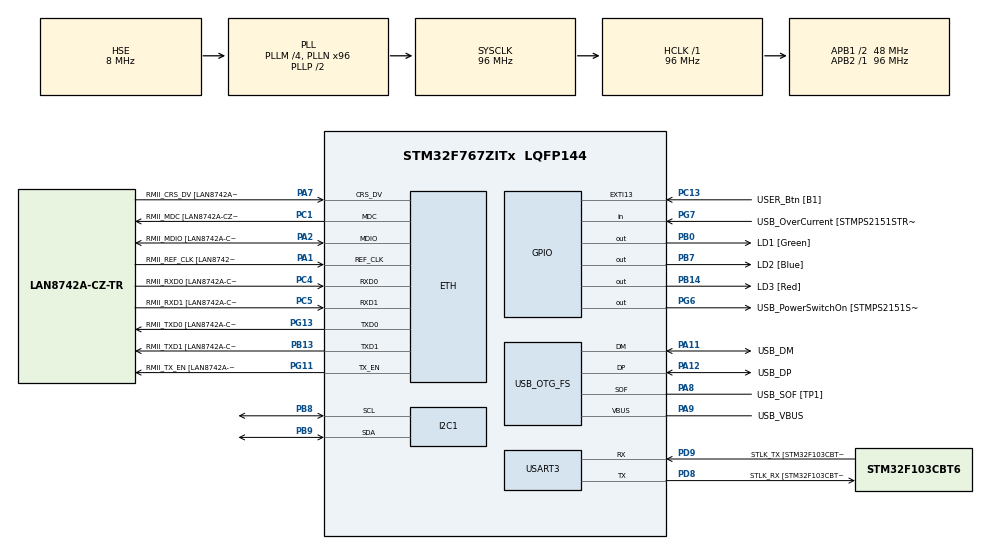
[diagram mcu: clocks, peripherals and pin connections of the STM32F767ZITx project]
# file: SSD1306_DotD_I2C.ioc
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ETH.MediaInterface=HAL_ETH_RMII_MODE
ETH.PHY_Name=LAN8742A_PHY_ADDRESS
ETH.PHY_Value=0
ETH.PhyAddress=0
I2C1.Timing=0x20303E5D
Mcu.Family=STM32F7
Mcu.Name=STM32F767ZITx
Mcu.Package=LQFP144
NVIC.PriorityGroup=NVIC_PRIORITYGROUP_4
PA1.GPIO_Label=RMII_REF_CLK [LAN8742A-CZ-TR_REFCLK0]
PA1.Mode=RMII
PA1.Signal=ETH_REF_CLK
PA10.GPIO_Label=USB_ID
PA10.Signal=USB_OTG_FS_ID
PA11.GPIO_Label=USB_DM
PA11.Mode=Device_Only
PA11.Signal=USB_OTG_FS_DM
PA12.GPIO_Label=USB_DP
PA12.Mode=Device_Only
PA12.Signal=USB_OTG_FS_DP
PA13.GPIO_Label=TMS
PA13.Mode=Serial_Wire
PA13.Signal=SYS_JTMS-SWDIO
PA14.GPIO_Label=TCK
PA14.Mode=Serial_Wire
PA14.Signal=SYS_JTCK-SWCLK
PA2.GPIO_Label=RMII_MDIO [LAN8742A-CZ-TR_MDIO]
PA2.Mode=RMII
PA2.Signal=ETH_MDIO
PA7.GPIO_Label=RMII_CRS_DV [LAN8742A-CZ-TR_CRS_DV]
PA7.Mode=RMII
PA7.Signal=ETH_CRS_DV
PA8.GPIO_Label=USB_SOF [TP1]
PA8.Mode=Activate_SOF_FS
PA8.Signal=USB_OTG_FS_SOF
PA9.GPIO_Label=USB_VBUS
PA9.Mode=Activate_VBUS
PA9.Signal=USB_OTG_FS_VBUS
PB0.GPIO_Label=LD1 [Green]
PB0.Signal=GPIO_Output
PB13.GPIO_Label=RMII_TXD1 [LAN8742A-CZ-TR_TXD1]
PB13.Mode=RMII
PB13.Signal=ETH_TXD1
PB14.GPIO_Label=LD3 [Red]
PB14.Signal=GPIO_Output
PB3.GPIO_Label=SWO
PB3.Signal=SYS_JTDO-SWO
PB7.GPIO_Label=LD2 [Blue]
PB7.Signal=GPIO_Output
PB8.GPIO_Pu=GPIO_PULLUP
PB8.Mode=I2C
PB8.Signal=I2C1_SCL
PB9.GPIO_Pu=GPIO_PULLUP
PB9.Mode=I2C
PB9.Signal=I2C1_SDA
PC1.GPIO_Label=RMII_MDC [LAN8742A-CZ-TR_MDC]
PC1.Mode=RMII
PC1.Signal=ETH_MDC
PC13.GPIO_Label=USER_Btn [B1]
PC13.Signal=GPXTI13
PC14/OSC32_IN.Mode=LSE-External-Oscillator
PC14/OSC32_IN.Signal=RCC_OSC32_IN
PC15/OSC32_OUT.Mode=LSE-External-Oscillator
PC15/OSC32_OUT.Signal=RCC_OSC32_OUT
PC4.GPIO_Label=RMII_RXD0 [LAN8742A-CZ-TR_RXD0]
PC4.Mode=RMII
PC4.Signal=ETH_RXD0
PC5.GPIO_Label=RMII_RXD1 [LAN8742A-CZ-TR_RXD1]
PC5.Mode=RMII
PC5.Signal=ETH_RXD1
PD8.GPIO_Label=STLK_RX [STM32F103CBT6_PA3]
PD8.Mode=Asynchronous
PD8.Signal=USART3_TX
PD9.GPIO_Label=STLK_TX [STM32F103CBT6_PA2]
PD9.Mode=Asynchronous
PD9.Signal=USART3_RX
PG11.GPIO_Label=RMII_TX_EN [LAN8742A-CZ-TR_TXEN]
PG11.Mode=RMII
PG11.Signal=ETH_TX_EN
PG13.GPIO_Label=RMII_TXD0 [LAN8742A-CZ-TR_TXD0]
PG13.Mode=RMII
PG13.Signal=ETH_TXD0
PG6.GPIO_Label=USB_PowerSwitchOn [STMPS2151STR_EN]
PG6.Signal=GPIO_Output
PG7.GPIO_Label=USB_OverCurrent [STMPS2151STR_FAULT]
PG7.Signal=GPIO_Input
PH0/OSC_IN.GPIO_Label=MCO [STM32F103CBT6_PA8]
PH0/OSC_IN.Mode=HSE-External-Clock-Source
PH0/OSC_IN.Signal=RCC_OSC_IN
PH1/OSC_OUT.Mode=HSE-External-Clock-Source
PH1/OSC_OUT.Signal=RCC_OSC_OUT
ProjectManager.HeapSize=0x200
ProjectManager.StackSize=0x400
ProjectManager.TargetToolchain=STM32CubeIDE
RCC.48MHZClocksFreq_Value=24000000
RCC.AHBFreq_Value=96000000
RCC.APB1CLKDivider=RCC_HCLK_DIV2
RCC.APB1Freq_Value=48000000
RCC.APB1TimFreq_Value=96000000
RCC.APB2Freq_Value=96000000
RCC.APB2TimFreq_Value=96000000
RCC.CortexFreq_Value=96000000
RCC.HCLKFreq_Value=96000000
RCC.HSE_VALUE=8000000
RCC.HSI_VALUE=16000000
RCC.PLLM=4
RCC.PLLMUL=RCC_PLL_MUL9
RCC.PLLN=96
RCC.PLLQ=4
RCC.PRESCALERUSB=RCC_USBCLKSOURCE_PLL_DIV1_5
RCC.SYSCLKFreq_VALUE=96000000
RCC.SYSCLKSource=RCC_SYSCLKSOURCE_PLLCLK
RCC.SYSCLKSourceVirtual=RCC_SYSCLKSOURCE_PLLCLK
RCC.USBFreq_Value=48000000
RCC.VCOOutputFreq_Value=192000000
USART3.VirtualMode-Asynchronous=VM_ASYNC
USB_OTG_FS.VirtualMode=Device_Only
board=NUCLEO-F767ZI

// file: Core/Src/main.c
/* USER CODE BEGIN Header */
/**
  ******************************************************************************
  * @file           : main.c
  * @brief          : Main program body
  ******************************************************************************
  * @attention
  *
  * Copyright (c) 2024 STMicroelectronics.
  * All rights reserved.
  *
  * This software is licensed under terms that can be found in the LICENSE file
  * in the root directory of this software component.
  * If no LICENSE file comes with this software, it is provided AS-IS.
  *
  ******************************************************************************
  */
/* USER CODE END Header */
#include "main.h"
#include "string.h"

/* USER CODE BEGIN Includes */

#include "../../lib/ssd1306.h"
#include "../../lib/fonts.h"

I2C_HandleTypeDef hi2c1;

/* USER CODE END Includes */

#if defined ( __ICCARM__ ) /*!< IAR Compiler */
#pragma location=0x2007c000
ETH_DMADescTypeDef  DMARxDscrTab[ETH_RX_DESC_CNT]; /* Ethernet Rx DMA Descriptors */
#pragma location=0x2007c0a0
ETH_DMADescTypeDef  DMATxDscrTab[ETH_TX_DESC_CNT]; /* Ethernet Tx DMA Descriptors */

#elif defined ( __CC_ARM )  /* MDK ARM Compiler */

__attribute__((at(0x2007c000))) ETH_DMADescTypeDef  DMARxDscrTab[ETH_RX_DESC_CNT]; /* Ethernet Rx DMA Descriptors */
__attribute__((at(0x2007c0a0))) ETH_DMADescTypeDef  DMATxDscrTab[ETH_TX_DESC_CNT]; /* Ethernet Tx DMA Descriptors */

#elif defined ( __GNUC__ ) /* GNU Compiler */

ETH_DMADescTypeDef DMARxDscrTab[ETH_RX_DESC_CNT] __attribute__((section(".RxDecripSection"))); /* Ethernet Rx DMA Descriptors */
ETH_DMADescTypeDef DMATxDscrTab[ETH_TX_DESC_CNT] __attribute__((section(".TxDecripSection")));   /* Ethernet Tx DMA Descriptors */
#endif

ETH_TxPacketConfig TxConfig;

ETH_HandleTypeDef heth;

I2C_HandleTypeDef hi2c1;

UART_HandleTypeDef huart3;

PCD_HandleTypeDef hpcd_USB_OTG_FS;

void SystemClock_Config(void);
static void MX_GPIO_Init(void);
static void MX_ETH_Init(void);
static void MX_USART3_UART_Init(void);
static void MX_USB_OTG_FS_PCD_Init(void);
static void MX_I2C1_Init(void);

int main(void)
{

  /* MCU Configuration--------------------------------------------------------*/

  /* Reset of all peripherals, Initializes the Flash interface and the Systick. */
  HAL_Init();

  /* Configure the system clock */
  SystemClock_Config();

  /* Initialize all configured peripherals */
  MX_GPIO_Init();
  MX_ETH_Init();
  MX_USART3_UART_Init();
  MX_USB_OTG_FS_PCD_Init();
  MX_I2C1_Init();
  /* USER CODE BEGIN 2 */

  // Init lcd using one of the stm32HAL i2c typedefs
  if (ssd1306_Init(&hi2c1) != 0) {
    Error_Handler();
  }
  HAL_Delay(1000);

  ssd1306_Fill(Black);
  ssd1306_UpdateScreen(&hi2c1);

  HAL_Delay(1000);

  // Write data to local screenbuffer
  ssd1306_SetCursor(0, 0);
  ssd1306_WriteString("ssd1306", Font_11x18, White);

  ssd1306_SetCursor(0, 36);
  ssd1306_WriteString("4ilo", Font_11x18, White);

  // Draw rectangle on screen
  for (uint8_t i=0; i<28; i++) {
      for (uint8_t j=0; j<64; j++) {
          ssd1306_DrawPixel(100+i, 0+j, White);
      }
  }

  // Copy all data from local screenbuffer to the screen
  ssd1306_UpdateScreen(&hi2c1);

  /* USER CODE END 2 */

  /* Infinite loop */
  while (1)
  {

  }
}

void SystemClock_Config(void)
{
  RCC_OscInitTypeDef RCC_OscInitStruct = {0};
  RCC_ClkInitTypeDef RCC_ClkInitStruct = {0};

  /** Configure LSE Drive Capability
  */
  HAL_PWR_EnableBkUpAccess();

  /** Configure the main internal regulator output voltage
  */
  __HAL_RCC_PWR_CLK_ENABLE();
  __HAL_PWR_VOLTAGESCALING_CONFIG(PWR_REGULATOR_VOLTAGE_SCALE3);

  /** Initializes the RCC Oscillators according to the specified parameters
  * in the RCC_OscInitTypeDef structure.
  */
  RCC_OscInitStruct.OscillatorType = RCC_OSCILLATORTYPE_HSE;
  RCC_OscInitStruct.HSEState = RCC_HSE_BYPASS;
  RCC_OscInitStruct.PLL.PLLState = RCC_PLL_ON;
  RCC_OscInitStruct.PLL.PLLSource = RCC_PLLSOURCE_HSE;
  RCC_OscInitStruct.PLL.PLLM = 4;
  RCC_OscInitStruct.PLL.PLLN = 96;
  RCC_OscInitStruct.PLL.PLLP = RCC_PLLP_DIV2;
  RCC_OscInitStruct.PLL.PLLQ = 4;
  RCC_OscInitStruct.PLL.PLLR = 2;
  if (HAL_RCC_OscConfig(&RCC_OscInitStruct) != HAL_OK)
  {
    Error_Handler();
  }

  /** Activate the Over-Drive mode
  */
  if (HAL_PWREx_EnableOverDrive() != HAL_OK)
  {
    Error_Handler();
  }

  /** Initializes the CPU, AHB and APB buses clocks
  */
  RCC_ClkInitStruct.ClockType = RCC_CLOCKTYPE_HCLK|RCC_CLOCKTYPE_SYSCLK
                              |RCC_CLOCKTYPE_PCLK1|RCC_CLOCKTYPE_PCLK2;
  RCC_ClkInitStruct.SYSCLKSource = RCC_SYSCLKSOURCE_PLLCLK;
  RCC_ClkInitStruct.AHBCLKDivider = RCC_SYSCLK_DIV1;
  RCC_ClkInitStruct.APB1CLKDivider = RCC_HCLK_DIV2;
  RCC_ClkInitStruct.APB2CLKDivider = RCC_HCLK_DIV1;

  if (HAL_RCC_ClockConfig(&RCC_ClkInitStruct, FLASH_LATENCY_3) != HAL_OK)
  {
    Error_Handler();
  }
}

static void MX_ETH_Init(void)
{

   static uint8_t MACAddr[6];

  heth.Instance = ETH;
  MACAddr[0] = 0x00;
  MACAddr[1] = 0x80;
  MACAddr[2] = 0xE1;
  MACAddr[3] = 0x00;
  MACAddr[4] = 0x00;
  MACAddr[5] = 0x00;
  heth.Init.MACAddr = &MACAddr[0];
  heth.Init.MediaInterface = HAL_ETH_RMII_MODE;
  heth.Init.TxDesc = DMATxDscrTab;
  heth.Init.RxDesc = DMARxDscrTab;
  heth.Init.RxBuffLen = 1524;

  if (HAL_ETH_Init(&heth) != HAL_OK)
  {
    Error_Handler();
  }

  memset(&TxConfig, 0 , sizeof(ETH_TxPacketConfig));
  TxConfig.Attributes = ETH_TX_PACKETS_FEATURES_CSUM | ETH_TX_PACKETS_FEATURES_CRCPAD;
  TxConfig.ChecksumCtrl = ETH_CHECKSUM_IPHDR_PAYLOAD_INSERT_PHDR_CALC;
  TxConfig.CRCPadCtrl = ETH_CRC_PAD_INSERT;

}

static void MX_I2C1_Init(void)
{

  hi2c1.Instance = I2C1;
  hi2c1.Init.Timing = 0x20303E5D;
  hi2c1.Init.OwnAddress1 = 0;
  hi2c1.Init.AddressingMode = I2C_ADDRESSINGMODE_7BIT;
  hi2c1.Init.DualAddressMode = I2C_DUALADDRESS_DISABLE;
  hi2c1.Init.OwnAddress2 = 0;
  hi2c1.Init.OwnAddress2Masks = I2C_OA2_NOMASK;
  hi2c1.Init.GeneralCallMode = I2C_GENERALCALL_DISABLE;
  hi2c1.Init.NoStretchMode = I2C_NOSTRETCH_DISABLE;
  if (HAL_I2C_Init(&hi2c1) != HAL_OK)
  {
    Error_Handler();
  }

  /** Configure Analogue filter
  */
  if (HAL_I2CEx_ConfigAnalogFilter(&hi2c1, I2C_ANALOGFILTER_ENABLE) != HAL_OK)
  {
    Error_Handler();
  }

  /** Configure Digital filter
  */
  if (HAL_I2CEx_ConfigDigitalFilter(&hi2c1, 0) != HAL_OK)
  {
    Error_Handler();
  }

}

static void MX_USART3_UART_Init(void)
{

  huart3.Instance = USART3;
  huart3.Init.BaudRate = 115200;
  huart3.Init.WordLength = UART_WORDLENGTH_8B;
  huart3.Init.StopBits = UART_STOPBITS_1;
  huart3.Init.Parity = UART_PARITY_NONE;
  huart3.Init.Mode = UART_MODE_TX_RX;
  huart3.Init.HwFlowCtl = UART_HWCONTROL_NONE;
  huart3.Init.OverSampling = UART_OVERSAMPLING_16;
  huart3.Init.OneBitSampling = UART_ONE_BIT_SAMPLE_DISABLE;
  huart3.AdvancedInit.AdvFeatureInit = UART_ADVFEATURE_NO_INIT;
  if (HAL_UART_Init(&huart3) != HAL_OK)
  {
    Error_Handler();
  }

}

static void MX_USB_OTG_FS_PCD_Init(void)
{

  hpcd_USB_OTG_FS.Instance = USB_OTG_FS;
  hpcd_USB_OTG_FS.Init.dev_endpoints = 6;
  hpcd_USB_OTG_FS.Init.speed = PCD_SPEED_FULL;
  hpcd_USB_OTG_FS.Init.dma_enable = DISABLE;
  hpcd_USB_OTG_FS.Init.phy_itface = PCD_PHY_EMBEDDED;
  hpcd_USB_OTG_FS.Init.Sof_enable = ENABLE;
  hpcd_USB_OTG_FS.Init.low_power_enable = DISABLE;
  hpcd_USB_OTG_FS.Init.lpm_enable = DISABLE;
  hpcd_USB_OTG_FS.Init.vbus_sensing_enable = ENABLE;
  hpcd_USB_OTG_FS.Init.use_dedicated_ep1 = DISABLE;
  if (HAL_PCD_Init(&hpcd_USB_OTG_FS) != HAL_OK)
  {
    Error_Handler();
  }

}

static void MX_GPIO_Init(void)
{
  GPIO_InitTypeDef GPIO_InitStruct = {0};

  /* GPIO Ports Clock Enable */
  __HAL_RCC_GPIOC_CLK_ENABLE();
  __HAL_RCC_GPIOH_CLK_ENABLE();
  __HAL_RCC_GPIOA_CLK_ENABLE();
  __HAL_RCC_GPIOB_CLK_ENABLE();
  __HAL_RCC_GPIOD_CLK_ENABLE();
  __HAL_RCC_GPIOG_CLK_ENABLE();

  /*Configure GPIO pin Output Level */
  HAL_GPIO_WritePin(GPIOB, LD1_Pin|LD3_Pin|LD2_Pin, GPIO_PIN_RESET);

  /*Configure GPIO pin Output Level */
  HAL_GPIO_WritePin(USB_PowerSwitchOn_GPIO_Port, USB_PowerSwitchOn_Pin, GPIO_PIN_RESET);

  /*Configure GPIO pin : USER_Btn_Pin */
  GPIO_InitStruct.Pin = USER_Btn_Pin;
  GPIO_InitStruct.Mode = GPIO_MODE_IT_RISING;
  GPIO_InitStruct.Pull = GPIO_NOPULL;
  HAL_GPIO_Init(USER_Btn_GPIO_Port, &GPIO_InitStruct);

  /*Configure GPIO pins : LD1_Pin LD3_Pin LD2_Pin */
  GPIO_InitStruct.Pin = LD1_Pin|LD3_Pin|LD2_Pin;
  GPIO_InitStruct.Mode = GPIO_MODE_OUTPUT_PP;
  GPIO_InitStruct.Pull = GPIO_NOPULL;
  GPIO_InitStruct.Speed = GPIO_SPEED_FREQ_LOW;
  HAL_GPIO_Init(GPIOB, &GPIO_InitStruct);

  /*Configure GPIO pin : USB_PowerSwitchOn_Pin */
  GPIO_InitStruct.Pin = USB_PowerSwitchOn_Pin;
  GPIO_InitStruct.Mode = GPIO_MODE_OUTPUT_PP;
  GPIO_InitStruct.Pull = GPIO_NOPULL;
  GPIO_InitStruct.Speed = GPIO_SPEED_FREQ_LOW;
  HAL_GPIO_Init(USB_PowerSwitchOn_GPIO_Port, &GPIO_InitStruct);

  /*Configure GPIO pin : USB_OverCurrent_Pin */
  GPIO_InitStruct.Pin = USB_OverCurrent_Pin;
  GPIO_InitStruct.Mode = GPIO_MODE_INPUT;
  GPIO_InitStruct.Pull = GPIO_NOPULL;
  HAL_GPIO_Init(USB_OverCurrent_GPIO_Port, &GPIO_InitStruct);

}

void Error_Handler(void)
{
  __disable_irq();
  while (1)
  {
  }
}
